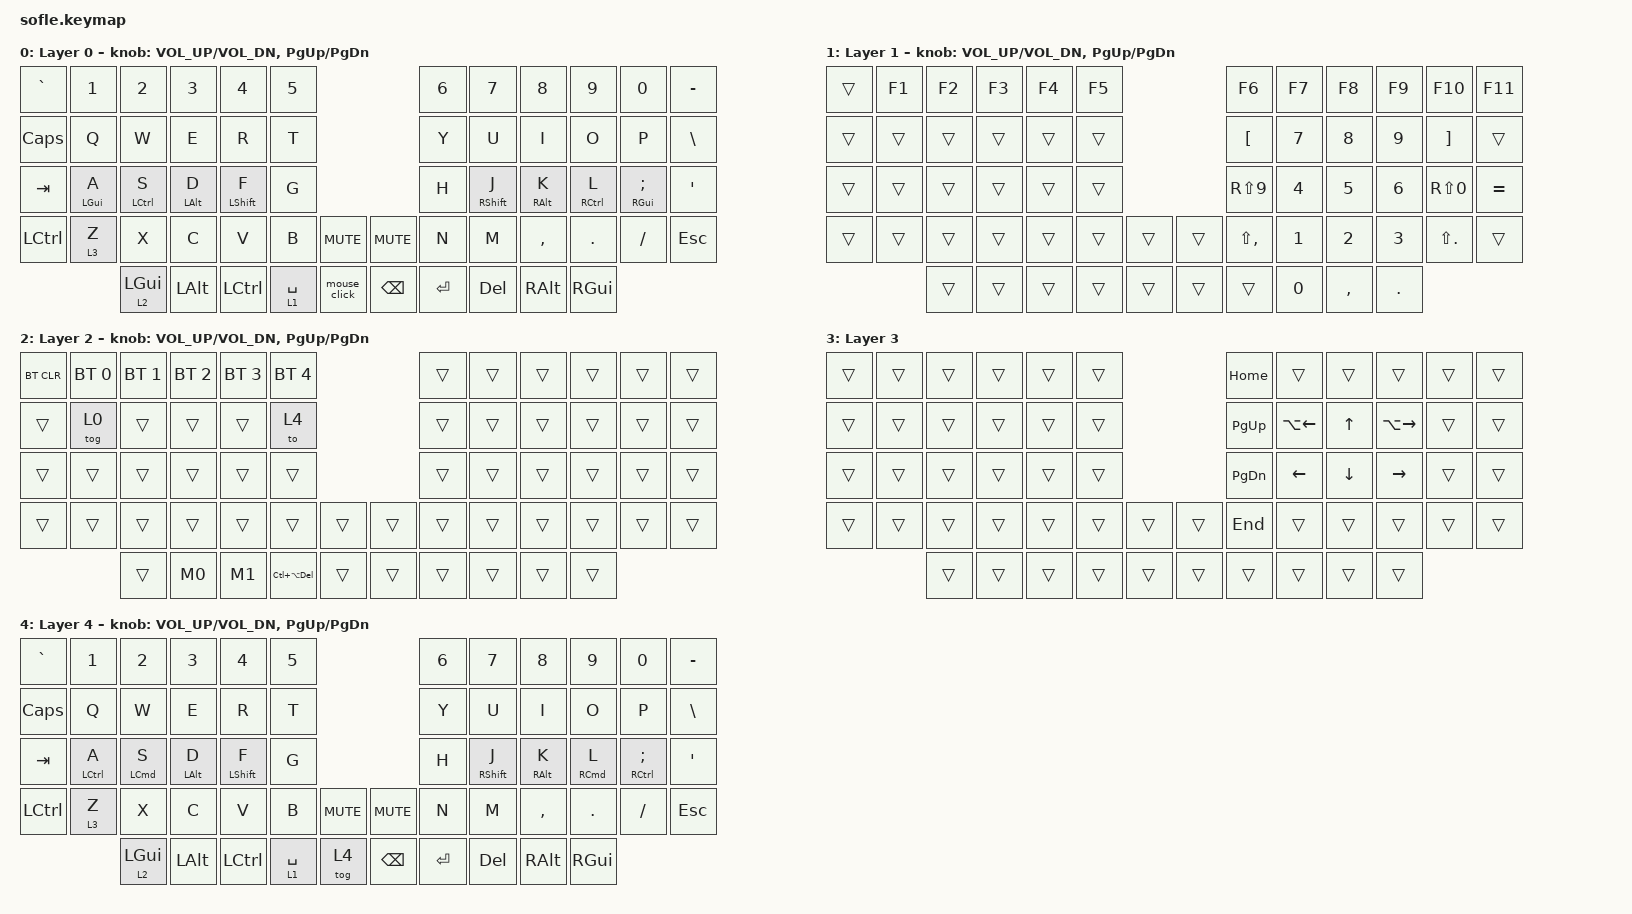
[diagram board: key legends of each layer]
/*
 * Copyright (c) 2020 The ZMK Contributors
 *
 * SPDX-License-Identifier: MIT
 */

#include <behaviors.dtsi>
#include <dt-bindings/zmk/bt.h>
#include <dt-bindings/zmk/keys.h>
#include <dt-bindings/zmk/pointing.h>

&nice_view_spi { cs-gpios = <&pro_micro 0 GPIO_ACTIVE_HIGH>; };

/ {
    macros {
        M0: M0 {
            compatible = "zmk,behavior-macro";
            #binding-cells = <0>;
            bindings = <&kp N9 &kp N8 &kp N5 &kp N0 &kp N0 &kp N0 &kp NUMBER_4 &kp N8 &kp N1 &kp ENTER>;
            label = "M0";
        };

        M1: M1 {
            compatible = "zmk,behavior-macro";
            #binding-cells = <0>;
            bindings = <&kp LS(I) &kp A &kp M &kp B &kp L &kp E &kp S &kp S &kp E &kp D &kp ASTERISK &kp N8 &kp ENTER>;
            label = "M1";
        };
    };

    behaviors {
        mouse_click: mouse_click {
            compatible = "zmk,behavior-tap-dance";
            label = "MOUSE_CLICK";
            #binding-cells = <0>;
            bindings = <&mkp LCLK>, <&mkp RCLK>;
        };

        balanced_behavior: balanced_behavior {
            compatible = "zmk,behavior-hold-tap";
            label = "BALANCED_BEHAVIOR";
            bindings = <&kp>, <&kp>;

            #binding-cells = <2>;
            tapping-term-ms = <200>;
            flavor = "balanced";
        };
    };

    keymap {
        compatible = "zmk,keymap";

        default_layer {
            display-name = "Layer 0";

            // ------------------------------------------------------------------------------------------------------------
            // |  `    |  1  |  2  |  3   |  4   |  5   |                   |  6   |  7    |  8    |  9   |   0   |       |
            // |  ESC  |  Q  |  W  |  E   |  R   |  T   |                   |  Y   |  U    |  I    |  O   |   P   | BKSPC |
            // |  TAB  |  A  |  S  |  D   |  F   |  G   |                   |  H   |  J    |  K    |  L   |   ;   |   '   |
            // | SHIFT |  Z  |  X  |  C   |  V   |  B   |  MUTE  |  |       |  N   |  M    |  ,    |  .   |   /   | SHIFT |
            //               | GUI | ALT  | CTRL | LOWER|  ENTER |  | SPACE | RAISE| CTRL  | ALT   | GUI  |

            bindings = <
&kp GRAVE         &kp N1                         &kp N2                             &kp N3                         &kp N4                           &kp N5                                      &kp N6     &kp N7                            &kp N8                          &kp N9                              &kp N0                             &kp MINUS
&kp CAPSLOCK      &kp Q                          &kp W                              &kp E                          &kp R                            &kp T                                       &kp Y      &kp U                             &kp I                           &kp O                               &kp P                              &kp BACKSLASH
&kp TAB           &balanced_behavior LEFT_GUI A  &balanced_behavior LEFT_CONTROL S  &balanced_behavior LEFT_ALT D  &balanced_behavior LEFT_SHIFT F  &kp G                                       &kp H      &balanced_behavior RIGHT_SHIFT J  &balanced_behavior RIGHT_ALT K  &balanced_behavior RIGHT_CONTROL L  &balanced_behavior RIGHT_GUI SEMI  &kp SQT
&kp LEFT_CONTROL  &lt 3 Z                        &kp X                              &kp C                          &kp V                            &kp B        &kp C_MUTE      &kp C_MUTE     &kp N      &kp M                             &kp COMMA                       &kp DOT                             &kp FSLH                           &kp ESC
                                                 &lt 2 LEFT_GUI                     &kp LALT                       &kp LCTRL                        &lt 1 SPACE  &mouse_click    &kp BACKSPACE  &kp ENTER  &kp DEL                           &kp RALT                        &kp RGUI
            >;

            sensor-bindings = <&inc_dec_kp C_VOL_UP C_VOL_DN &inc_dec_kp PG_UP PG_DN>;
        };

        lower_layer {
            display-name = "Layer 1";

            // TODO: Some binds are waiting for shifted keycode support.
            // ------------------------------------------------------------------------------------------------------------
            // | `     |  F1 |  F2 |  F3  |  F4  |  F5  |                   |  F6  |  F7   |  F8   |  F9  |  F10  |  F11  |
            // | RAISE |   1 |   2 |   3  |   4  |   5  |                   |   6  |   7   |   8   |   9  |    0  |  F12  |
            // |       |  !  |  @  |  #   |  $   |  %   |                   |  ^   |  &    |  *    |  (   |   )   |   |   |
            // |       |  =  |  -  |  +   |  {   |  }   |        |  |       |  [   |  ]    |  ;    |  :   |   \   |       |
            //               |     |      |      |      |        |  |       |      |       |       |      |

            bindings = <
&trans  &kp F1  &kp F2  &kp F3  &kp F4  &kp F5                    &kp F6            &kp F7        &kp F8        &kp F9        &kp F10            &kp F11
&trans  &trans  &trans  &trans  &trans  &trans                    &kp LEFT_BRACKET  &kp N7        &kp N8        &kp N9        &kp RIGHT_BRACKET  &trans
&trans  &trans  &trans  &trans  &trans  &trans                    &kp RS(N9)        &kp NUMBER_4  &kp N5        &kp NUMBER_6  &kp RS(N0)         &kp EQUAL
&trans  &trans  &trans  &trans  &trans  &trans  &trans    &trans  &kp LS(COMMA)     &kp NUMBER_1  &kp NUMBER_2  &kp NUMBER_3  &kp LS(PERIOD)     &trans
                &trans  &trans  &trans  &trans  &trans    &trans  &trans            &kp N0        &kp COMMA     &kp PERIOD
            >;

            sensor-bindings = <&inc_dec_kp C_VOL_UP C_VOL_DN &inc_dec_kp PG_UP PG_DN>;
        };

        raise_layer {
            display-name = "Layer 2";

            // ------------------------------------------------------------------------------------------------------------
            // |BTCLR| BT1  | BT2  |  BT3  |  BT4  |  BT5 |                |      |      |       |      |       |       |
            // |     | INS  | PSCR | GUI   |       |      |                | PGUP |      |       |      |       |       |
            // |     | ALT  | CTRL | SHIFT |       | CAPS |                |  <-  |   v  |   ^   |  ->  |  DEL  | BKSPC |
            // |     | UNDO | CUT  | COPY  | PASTE |      |      |  |      |      |      |       |      |       |       |
            //              |      |       |       |      |      |  |      |      |      |       |      |

            bindings = <
&bt BT_CLR  &bt BT_SEL 0  &bt BT_SEL 1  &bt BT_SEL 2  &bt BT_SEL 3  &bt BT_SEL 4                       &trans  &trans  &trans  &trans  &trans  &trans
&trans      &tog 0        &trans        &trans        &trans        &to 4                              &trans  &trans  &trans  &trans  &trans  &trans
&trans      &trans        &trans        &trans        &trans        &trans                             &trans  &trans  &trans  &trans  &trans  &trans
&trans      &trans        &trans        &trans        &trans        &trans           &trans    &trans  &trans  &trans  &trans  &trans  &trans  &trans
                          &trans        &M0           &M1           &kp LC(LA(DEL))  &trans    &trans  &trans  &trans  &trans  &trans
            >;

            sensor-bindings = <&inc_dec_kp C_VOL_UP C_VOL_DN &inc_dec_kp PG_UP PG_DN>;
        };

        layer_3 {
            display-name = "Layer 3";
            bindings = <
&trans  &trans  &trans  &trans  &trans  &trans                    &kp HOME       &trans        &trans        &trans         &trans  &trans
&trans  &trans  &trans  &trans  &trans  &trans                    &kp PAGE_UP    &kp LA(LEFT)  &kp UP_ARROW  &kp LA(RIGHT)  &trans  &trans
&trans  &trans  &trans  &trans  &trans  &trans                    &kp PAGE_DOWN  &kp LEFT      &kp DOWN      &kp RIGHT      &trans  &trans
&trans  &trans  &trans  &trans  &trans  &trans  &trans    &trans  &kp END        &trans        &trans        &trans         &trans  &trans
                &trans  &trans  &trans  &trans  &trans    &trans  &trans         &trans        &trans        &trans
            >;
        };

        ios_layer {
            display-name = "Layer 4";
            bindings = <
&kp GRAVE         &kp N1                      &kp N2                             &kp N3                         &kp N4                           &kp N5                                    &kp N6     &kp N7                            &kp N8                          &kp N9                              &kp N0                         &kp MINUS
&kp CAPSLOCK      &kp Q                       &kp W                              &kp E                          &kp R                            &kp T                                     &kp Y      &kp U                             &kp I                           &kp O                               &kp P                          &kp BACKSLASH
&kp TAB           &balanced_behavior LCTRL A  &balanced_behavior LEFT_COMMAND S  &balanced_behavior LEFT_ALT D  &balanced_behavior LEFT_SHIFT F  &kp G                                     &kp H      &balanced_behavior RIGHT_SHIFT J  &balanced_behavior RIGHT_ALT K  &balanced_behavior RIGHT_COMMAND L  &balanced_behavior RCTRL SEMI  &kp SQT
&kp LEFT_CONTROL  &lt 3 Z                     &kp X                              &kp C                          &kp V                            &kp B        &kp C_MUTE    &kp C_MUTE     &kp N      &kp M                             &kp COMMA                       &kp DOT                             &kp FSLH                       &kp ESC
                                              &lt 2 LEFT_GUI                     &kp LALT                       &kp LCTRL                        &lt 1 SPACE  &tog 4        &kp BACKSPACE  &kp ENTER  &kp DEL                           &kp RALT                        &kp RGUI
            >;

            sensor-bindings =
                <&inc_dec_kp C_VOL_UP C_VOL_DN>,
                <&inc_dec_kp PG_UP PG_DN>;
        };
    };
};
